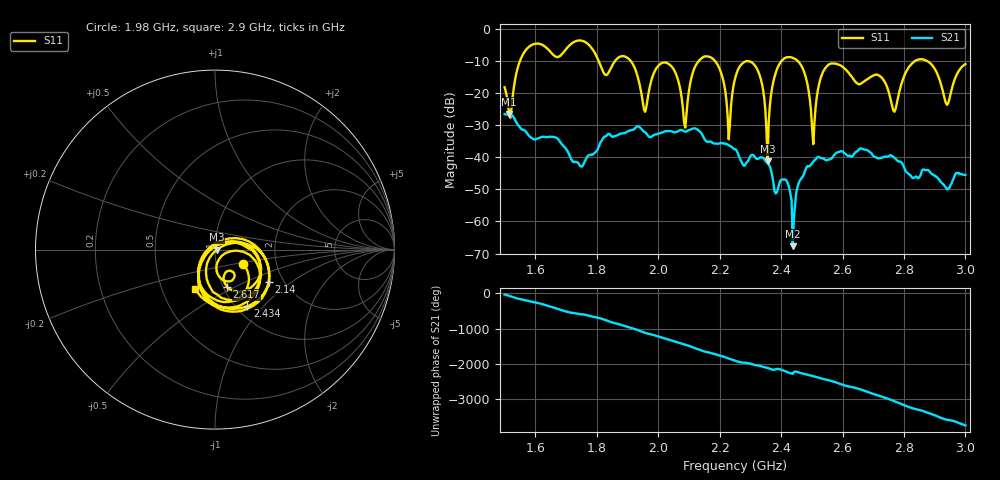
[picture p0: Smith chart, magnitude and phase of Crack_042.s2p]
# HZ S RI R 50
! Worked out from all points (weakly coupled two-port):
!   404 points, 1.5 GHz to 3 GHz, reference 50 ohm
!   highest |S21| = -26.46 dB at 1.515 GHz (marker M1); lowest = -67.7 dB at 2.438 GHz (marker M2)
!   lowest |S11| = -41.2 dB at 2.356 GHz (marker M3), VSWR 1.02, Z = 50.9 - j0.129 ohm
!   |S11| at or under -10 dB: 1.911 GHz to 2.131 GHz (220 MHz wide, 10.9 % of centre); 2.455 GHz to 2.835 GHz (379.4 MHz wide, 14.3 % of centre); 2.877 GHz to end of sweep (the widest 3 of 7)
!   S12 and S22 are empty: the file has one direction only
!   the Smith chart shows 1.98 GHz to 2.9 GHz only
!   S11 on the Smith chart (normalised r, x): 1.98 GHz: 1.35, -0.22; 2.14 GHz: 1.68, -0.69; 2.434 GHz: 1.13, -0.82; 2.617 GHz: 1.04, -0.45; 2.9 GHz: 0.74, -0.34
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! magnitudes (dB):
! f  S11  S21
! 1.5 GHz  -18.1  -26.5
! 1.515 GHz  -26.6  -26.5
! 1.578 GHz  -5.6  -33.1
! 1.753 GHz  -3.6  -42.8
! 1.958 GHz  -25.8  -32.2
! 1.98 GHz  -15.2  -33.4
! 2.002 GHz  -11.2  -32.5
! 2.088 GHz  -30.7  -32.0
! 2.14 GHz  -9.1  -32.4
! 2.23 GHz  -34.3  -36.2
! 2.252 GHz  -14.8  -37.5
! 2.315 GHz  -11.4  -39.9
! 2.356 GHz  -41.2  -41.9
! 2.434 GHz  -8.8  -53.4
! 2.438 GHz  -8.9  -67.7
! 2.501 GHz  -31.2  -41.8
! 2.546 GHz  -11.9  -40.9
! 2.617 GHz  -13.2  -39.5
! 2.751 GHz  -19.6  -39.6
! 2.9 GHz  -12.2  -45.6
! 2.94 GHz  -23.6  -50.0
! 3 GHz  -10.8  -45.4
